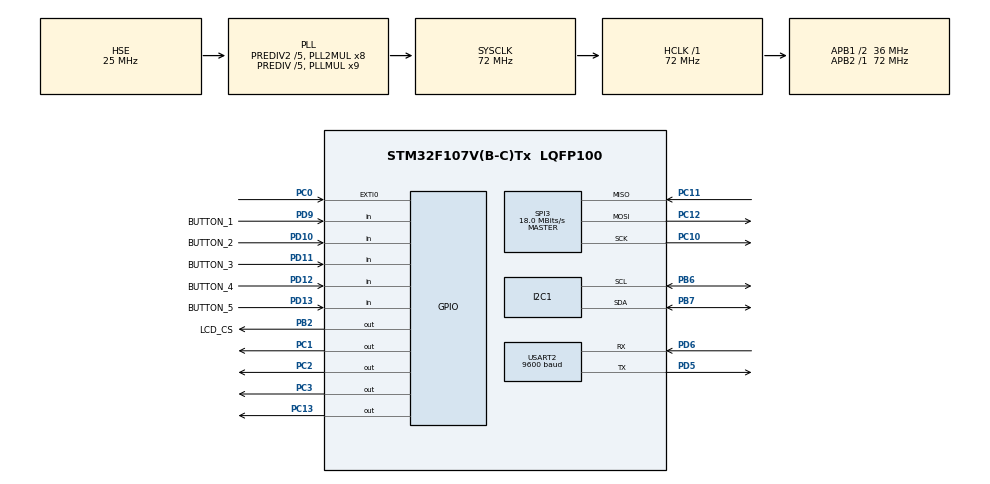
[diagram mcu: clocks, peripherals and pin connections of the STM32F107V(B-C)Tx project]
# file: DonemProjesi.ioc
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I2C1.I2C_Mode=I2C_Standard
Mcu.Family=STM32F1
Mcu.Name=STM32F107V(B-C)Tx
Mcu.Package=LQFP100
NVIC.PriorityGroup=NVIC_PRIORITYGROUP_4
NVIC.USART2_IRQn=true\:0\:0\:false\:false\:true\:true\:true\:true
OSC_IN.Mode=HSE-External-Oscillator
OSC_IN.Signal=RCC_OSC_IN
OSC_OUT.Mode=HSE-External-Oscillator
OSC_OUT.Signal=RCC_OSC_OUT
PA13.Mode=Trace_Synchro_4bits_JTAG
PA13.Signal=SYS_JTMS-SWDIO
PA14.Mode=Trace_Synchro_4bits_JTAG
PA14.Signal=SYS_JTCK-SWCLK
PA15.Mode=Trace_Synchro_4bits_JTAG
PA15.Signal=SYS_JTDI
PB2.GPIO_Label=LCD_CS
PB2.Signal=GPIO_Output
PB3.Mode=Trace_Synchro_4bits_JTAG
PB3.Signal=SYS_JTDO
PB6.Mode=I2C
PB6.Signal=I2C1_SCL
PB7.Mode=I2C
PB7.Signal=I2C1_SDA
PC0.Signal=GPXTI0
PC1.Signal=GPIO_Output
PC10.Mode=Full_Duplex_Master
PC10.Signal=SPI3_SCK
PC11.Mode=Full_Duplex_Master
PC11.Signal=SPI3_MISO
PC12.Mode=Full_Duplex_Master
PC12.Signal=SPI3_MOSI
PC13-TAMPER-RTC.Signal=GPIO_Output
PC2.Signal=GPIO_Output
PC3.Signal=GPIO_Output
PD10.GPIO_Label=BUTTON_2
PD10.Signal=GPIO_Input
PD11.GPIO_Label=BUTTON_3
PD11.Signal=GPIO_Input
PD12.GPIO_Label=BUTTON_4
PD12.Signal=GPIO_Input
PD13.GPIO_Label=BUTTON_5
PD13.Signal=GPIO_Input
PD5.Mode=Asynchronous
PD5.Signal=USART2_TX
PD6.Mode=Asynchronous
PD6.Signal=USART2_RX
PD9.GPIO_Label=BUTTON_1
PD9.Signal=GPIO_Input
PE2.Mode=Trace_Synchro_4bits_JTAG
PE2.Signal=SYS_TRACECLK
PE3.Mode=Trace_Synchro_4bits_JTAG
PE3.Signal=SYS_TRACED0
PE4.Mode=Trace_Synchro_4bits_JTAG
PE4.Signal=SYS_TRACED1
PE5.Mode=Trace_Synchro_4bits_JTAG
PE5.Signal=SYS_TRACED2
PE6.Mode=Trace_Synchro_4bits_JTAG
PE6.Signal=SYS_TRACED3
ProjectManager.HeapSize=0x200
ProjectManager.StackSize=0x400
ProjectManager.TargetToolchain=STM32CubeIDE
RCC.AHBFreq_Value=72000000
RCC.APB1CLKDivider=RCC_HCLK_DIV2
RCC.APB1Freq_Value=36000000
RCC.APB1TimFreq_Value=72000000
RCC.APB2Freq_Value=72000000
RCC.APB2TimFreq_Value=72000000
RCC.HCLKFreq_Value=72000000
RCC.HSEDivPLL=RCC_HSE_PREDIV_DIV5
RCC.HSE_VALUE=25000000
RCC.PLLMUL=RCC_PLL_MUL9
RCC.PLLSourceVirtual=RCC_PLLSOURCE_HSE
RCC.Prediv1Source=RCC_PREDIV1_SOURCE_PLL2
RCC.Prediv2=RCC_HSE_PREDIV2_DIV5
RCC.SYSCLKFreq_VALUE=72000000
RCC.SYSCLKSource=RCC_SYSCLKSOURCE_PLLCLK
RCC.USBFreq_Value=48000000
SPI3.BaudRatePrescaler=SPI_BAUDRATEPRESCALER_2
SPI3.CalculateBaudRate=18.0 MBits/s
SPI3.Direction=SPI_DIRECTION_2LINES
SPI3.Mode=SPI_MODE_MASTER
SPI3.VirtualType=VM_MASTER
USART2.BaudRate=9600
USART2.VirtualMode=VM_ASYNC
board=custom

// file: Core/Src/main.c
/* USER CODE BEGIN Header */

/* Gömülü Sistemler Proje Ödevi
 *
 *  Ekrem Tarık Yetgin 	  - 05190000434
 *	Muhammed Ahmet Kartop - 05180000506
 *  Labirent Tank Oyunu Projesi
*/

/**
 ******************************************************************************
 * @file           : main.c
 * @brief          : Main program body
 ******************************************************************************
 * @attention
 *
 * <h2><center>&copy; Copyright (c) 2021 STMicroelectronics.
 * All rights reserved.</center></h2>
 *
 * This software component is licensed by ST under BSD 3-Clause license,
 * the "License"; You may not use this file except in compliance with the
 * License. You may obtain a copy of the License at:
 *                        opensource.org/licenses/BSD-3-Clause
 *
 ******************************************************************************
 */
/* USER CODE END Header */
#include "main.h"

/* USER CODE BEGIN Includes */
#include "math.h"
#include "time.h"
#include "stdlib.h"
#include "string.h"
/* USER CODE END Includes */

/* USER CODE BEGIN PTD */

#define TANK_RADIUS 10							// Tankların Yarıçapı
#define MAX_BULLET_COUNT 5						// Her tankın haritada bulundurabileceği maksimum mermi sayısı
#define MAX_BULLET_LIFETIME 55					// Mermilerin haritada kalma süresi (birimi yok, oyunun ilerleme hızına bağlı)
#define BULLET_RADIUS 1							// Mermi yarıçapı
#define LCD_X_SIZE 320							// Ekran yatay uzunluk
#define LCD_Y_SIZE 240							// Ekran dikey uzunluk
#define MAP_BLOCKS 5							// Haritanın boyutu, daha büyük değer daha dar yollar demek. 240'ı tam bölen değerler verilmeli
#define WALL_COLOR LCD_COLOR_BLACK				// Duvar rengi
#define BULLET_COLOR LCD_COLOR_DARKRED			// Mermi rengi
#define TURNS_TO_WIN 9							// Oyunu kazanmak için gereken puan

typedef enum bool{
	false,true
}bool;

typedef struct bullet{
	int xPos;
	int yPos;
	short xVelocity;
	short yVelocity;
	uint8_t lifeTime;
}bullet;

typedef struct Tank{
	uint8_t ID;
	char name[11];
	uint16_t xPos;
	uint16_t yPos;

	uint8_t radius;

	short xPosBarrel;					// Namlu'nun uç pozisyonunun x bileşeni.
	short yPosBarrel;					// Namlu'nun uç pozisyonunun y bileşeni

	bool turnClockwise;
	bool turnCounterClockwise;
	bool goForward;
	bool goBack;
	bool fire;

	uint32_t color;

	GPIO_TypeDef* gpioPort;
	uint16_t pins[6];

	bullet bullets[MAX_BULLET_COUNT];

	uint8_t score;
}Tank;

char playerName[11];
char uartInputData;
char startMessage[100];
bool playerOneNameSet = false;
bool playerTwoNameSet = false;

int map[MAP_BLOCKS][MAP_BLOCKS];

/* USER CODE END PTD */

I2C_HandleTypeDef hi2c1;

SPI_HandleTypeDef hspi3;

UART_HandleTypeDef huart2;

void SystemClock_Config(void);
static void MX_GPIO_Init(void);
static void MX_I2C1_Init(void);
static void MX_SPI3_Init(void);
static void MX_USART2_UART_Init(void);
/* USER CODE BEGIN PFP */

static void Baslangic_Ayarlari(void);

void ButtonInput(Tank *tank);														// Ayarlanmış butonlardan giriş alır
void DrawTank(Tank *tank);															// Tankı mevcut pozisyona çizdirir
void EraseTank(Tank *tank);															// Tankın mevcut pozisyonuna arka plan rengini bastırır
void ActionTank(Tank *tank,Tank *tankSecodary,int map[MAP_BLOCKS][MAP_BLOCKS]);		// Basılan butonlara göre tankın hareketlerini gerçekleştirir

void MoveBullets(Tank *tank,Tank *tankSecondary);									// Mermi hareketini sağlar
void EraseBullets(Tank *tank);														// Mermilerin konumuna arka plan rengini bastırır
void DrawBullets(Tank *tank);														// Mermileri mevcut pozisyonda çizdirir
void CheckForHit(Tank *tank1,Tank *tank2);											// Mermilerin tanka çarpıp çarpmadığını kontrol eder

void GenerateMaze(int map[MAP_BLOCKS][MAP_BLOCKS]);									// Haritayı oluşturur
int NeighbourCount(int neighbours[4]);												// Haritanın mezcut konumundan gidilebilecek komşu blok sayısını döndürür
void GetNeighbours(int map[MAP_BLOCKS][MAP_BLOCKS], int negihbours[4], int mapxIndex, int mapyIndex);
// Haritanın mezcut konumundan gidilebilecek komşu blokları belirler

void DrawMap(int map[MAP_BLOCKS][MAP_BLOCKS]);										// Haritayı çizdirir

bool IsWallRight(int x, int y,int map[MAP_BLOCKS][MAP_BLOCKS]);						// Mevcut bloğun sağ tarafında duvar olmalı mı
bool IsWallLeft(int x, int y,int map[MAP_BLOCKS][MAP_BLOCKS]);						// Mevcut bloğun sol tarafında duvar olmalı mı
bool IsWallBottom(int x, int y,int map[MAP_BLOCKS][MAP_BLOCKS]);					// Mevcut bloğun alt tarafında duvar olmalı mı
bool IsWallUp(int x, int y,int map[MAP_BLOCKS][MAP_BLOCKS]);						// Mevcut bloğun üst tarafında duvar olmalı mı

void StartGame(Tank *tank1, Tank *tank2, int map[MAP_BLOCKS][MAP_BLOCKS]);			// Oyunun başlangıç ayarlarını yapar

void PrintScoreBoard(Tank *tank1, Tank *tank2);										// Puan durumunu ekrana yazar

/* USER CODE END PFP */

int main(void)
{
  /* USER CODE BEGIN 1 */
	srand(time(NULL));
  /* USER CODE END 1 */

  /* MCU Configuration--------------------------------------------------------*/

  /* Reset of all peripherals, Initializes the Flash interface and the Systick. */
  HAL_Init();

  /* Configure the system clock */
  SystemClock_Config();

  /* Initialize all configured peripherals */
  MX_GPIO_Init();
  MX_I2C1_Init();
  MX_SPI3_Init();
  MX_USART2_UART_Init();
  /* USER CODE BEGIN 2 */

	Baslangic_Ayarlari();
	//GenerateMaze();
	//Ekran_Mesaji();

	Tank tank1;
	Tank tank2;

	tank1.score = 0;
	tank2.score = 0;

	HAL_UART_Receive_IT(&huart2,(uint8_t*)&uartInputData , 1);

	// UART üzerinden oyuncuların adlarını alıp tank.name değişkenine kaydediyoruz

	BSP_LCD_SetFont(&Font16);

	strcpy(startMessage,"Please Enter The Name of the Player One Maximum of 10 characters\nPut a '.' at the end.\n\n");
	BSP_LCD_DisplayStringAtLine(1, (uint8_t*)"Please Enter The Name ");
	BSP_LCD_DisplayStringAtLine(2, (uint8_t*)"of the Player One");
	BSP_LCD_DisplayStringAtLine(3, (uint8_t*)"Maximum of 10 characters");
	BSP_LCD_DisplayStringAtLine(4, (uint8_t*)"Put a '.' at the end.");
	HAL_UART_Transmit(&huart2,(uint8_t*) startMessage, strlen(startMessage), 3000);
	while(!playerOneNameSet);
	strcpy(tank1.name,playerName);

	strcpy(playerName,"");
	BSP_LCD_ClearStringLine(1);
	BSP_LCD_ClearStringLine(2);
	BSP_LCD_ClearStringLine(3);
	BSP_LCD_ClearStringLine(4);

	strcpy(startMessage, "Please Enter The Name of the Player Two Maximum of 10 characters\nPut a '.' at the end.\n\n");
	BSP_LCD_DisplayStringAtLine(1, (uint8_t*)"Please Enter The Name ");
	BSP_LCD_DisplayStringAtLine(2, (uint8_t*)"of the Player Two");
	BSP_LCD_DisplayStringAtLine(3, (uint8_t*)"Maximum of 10 characters");
	BSP_LCD_DisplayStringAtLine(4, (uint8_t*)"Put a '.' at the end.");
	HAL_UART_Transmit(&huart2,(uint8_t*) startMessage, strlen(startMessage), 3000);
	while(!playerTwoNameSet);
	strcpy(tank2.name,playerName);

	StartGame(&tank1,&tank2,map);

  /* USER CODE END 2 */

  /* Infinite loop */
  /* USER CODE BEGIN WHILE */
	while (1) {

				EraseTank(&tank1);
				EraseTank(&tank2);
				HAL_Delay(10);
				ButtonInput(&tank1);
				ButtonInput(&tank2);
				ActionTank(&tank1,&tank2,map);
				ActionTank(&tank2,&tank1,map);
				DrawTank(&tank1);
				DrawTank(&tank2);
				HAL_Delay(40);

    /* USER CODE END WHILE */

	}
}

void SystemClock_Config(void)
{
  RCC_OscInitTypeDef RCC_OscInitStruct = {0};
  RCC_ClkInitTypeDef RCC_ClkInitStruct = {0};

  /** Initializes the RCC Oscillators according to the specified parameters
  * in the RCC_OscInitTypeDef structure.
  */
  RCC_OscInitStruct.OscillatorType = RCC_OSCILLATORTYPE_HSE;
  RCC_OscInitStruct.HSEState = RCC_HSE_ON;
  RCC_OscInitStruct.HSEPredivValue = RCC_HSE_PREDIV_DIV5;
  RCC_OscInitStruct.HSIState = RCC_HSI_ON;
  RCC_OscInitStruct.Prediv1Source = RCC_PREDIV1_SOURCE_PLL2;
  RCC_OscInitStruct.PLL.PLLState = RCC_PLL_ON;
  RCC_OscInitStruct.PLL.PLLSource = RCC_PLLSOURCE_HSE;
  RCC_OscInitStruct.PLL.PLLMUL = RCC_PLL_MUL9;
  RCC_OscInitStruct.PLL2.PLL2State = RCC_PLL2_ON;
  RCC_OscInitStruct.PLL2.PLL2MUL = RCC_PLL2_MUL8;
  RCC_OscInitStruct.PLL2.HSEPrediv2Value = RCC_HSE_PREDIV2_DIV5;
  if (HAL_RCC_OscConfig(&RCC_OscInitStruct) != HAL_OK)
  {
    Error_Handler();
  }
  /** Initializes the CPU, AHB and APB buses clocks
  */
  RCC_ClkInitStruct.ClockType = RCC_CLOCKTYPE_HCLK|RCC_CLOCKTYPE_SYSCLK
                              |RCC_CLOCKTYPE_PCLK1|RCC_CLOCKTYPE_PCLK2;
  RCC_ClkInitStruct.SYSCLKSource = RCC_SYSCLKSOURCE_PLLCLK;
  RCC_ClkInitStruct.AHBCLKDivider = RCC_SYSCLK_DIV1;
  RCC_ClkInitStruct.APB1CLKDivider = RCC_HCLK_DIV2;
  RCC_ClkInitStruct.APB2CLKDivider = RCC_HCLK_DIV1;

  if (HAL_RCC_ClockConfig(&RCC_ClkInitStruct, FLASH_LATENCY_2) != HAL_OK)
  {
    Error_Handler();
  }
  /** Configure the Systick interrupt time
  */
  __HAL_RCC_PLLI2S_ENABLE();
}

static void MX_I2C1_Init(void)
{

  hi2c1.Instance = I2C1;
  hi2c1.Init.ClockSpeed = 100000;
  hi2c1.Init.DutyCycle = I2C_DUTYCYCLE_2;
  hi2c1.Init.OwnAddress1 = 0;
  hi2c1.Init.AddressingMode = I2C_ADDRESSINGMODE_7BIT;
  hi2c1.Init.DualAddressMode = I2C_DUALADDRESS_DISABLE;
  hi2c1.Init.OwnAddress2 = 0;
  hi2c1.Init.GeneralCallMode = I2C_GENERALCALL_DISABLE;
  hi2c1.Init.NoStretchMode = I2C_NOSTRETCH_DISABLE;
  if (HAL_I2C_Init(&hi2c1) != HAL_OK)
  {
    Error_Handler();
  }

}

static void MX_SPI3_Init(void)
{

  /* SPI3 parameter configuration*/
  hspi3.Instance = SPI3;
  hspi3.Init.Mode = SPI_MODE_MASTER;
  hspi3.Init.Direction = SPI_DIRECTION_2LINES;
  hspi3.Init.DataSize = SPI_DATASIZE_8BIT;
  hspi3.Init.CLKPolarity = SPI_POLARITY_LOW;
  hspi3.Init.CLKPhase = SPI_PHASE_1EDGE;
  hspi3.Init.NSS = SPI_NSS_SOFT;
  hspi3.Init.BaudRatePrescaler = SPI_BAUDRATEPRESCALER_2;
  hspi3.Init.FirstBit = SPI_FIRSTBIT_MSB;
  hspi3.Init.TIMode = SPI_TIMODE_DISABLE;
  hspi3.Init.CRCCalculation = SPI_CRCCALCULATION_DISABLE;
  hspi3.Init.CRCPolynomial = 10;
  if (HAL_SPI_Init(&hspi3) != HAL_OK)
  {
    Error_Handler();
  }

}

static void MX_USART2_UART_Init(void)
{

  huart2.Instance = USART2;
  huart2.Init.BaudRate = 9600;
  huart2.Init.WordLength = UART_WORDLENGTH_8B;
  huart2.Init.StopBits = UART_STOPBITS_1;
  huart2.Init.Parity = UART_PARITY_NONE;
  huart2.Init.Mode = UART_MODE_TX_RX;
  huart2.Init.HwFlowCtl = UART_HWCONTROL_NONE;
  huart2.Init.OverSampling = UART_OVERSAMPLING_16;
  if (HAL_UART_Init(&huart2) != HAL_OK)
  {
    Error_Handler();
  }

}

static void MX_GPIO_Init(void)
{
  GPIO_InitTypeDef GPIO_InitStruct = {0};

  /* GPIO Ports Clock Enable */
  __HAL_RCC_GPIOE_CLK_ENABLE();
  __HAL_RCC_GPIOC_CLK_ENABLE();
  __HAL_RCC_GPIOB_CLK_ENABLE();
  __HAL_RCC_GPIOD_CLK_ENABLE();
  __HAL_RCC_GPIOA_CLK_ENABLE();

  /*Configure GPIO pin Output Level */
  HAL_GPIO_WritePin(GPIOC, GPIO_PIN_13|GPIO_PIN_1|GPIO_PIN_2|GPIO_PIN_3, GPIO_PIN_RESET);

  /*Configure GPIO pin Output Level */
  HAL_GPIO_WritePin(LCD_CS_GPIO_Port, LCD_CS_Pin, GPIO_PIN_RESET);

  /*Configure GPIO pins : PC13 PC1 PC2 PC3 */
  GPIO_InitStruct.Pin = GPIO_PIN_13|GPIO_PIN_1|GPIO_PIN_2|GPIO_PIN_3;
  GPIO_InitStruct.Mode = GPIO_MODE_OUTPUT_PP;
  GPIO_InitStruct.Pull = GPIO_NOPULL;
  GPIO_InitStruct.Speed = GPIO_SPEED_FREQ_LOW;
  HAL_GPIO_Init(GPIOC, &GPIO_InitStruct);

  /*Configure GPIO pin : PC0 */
  GPIO_InitStruct.Pin = GPIO_PIN_0;
  GPIO_InitStruct.Mode = GPIO_MODE_IT_RISING;
  GPIO_InitStruct.Pull = GPIO_NOPULL;
  HAL_GPIO_Init(GPIOC, &GPIO_InitStruct);

  /*Configure GPIO pin : LCD_CS_Pin */
  GPIO_InitStruct.Pin = LCD_CS_Pin;
  GPIO_InitStruct.Mode = GPIO_MODE_OUTPUT_PP;
  GPIO_InitStruct.Pull = GPIO_NOPULL;
  GPIO_InitStruct.Speed = GPIO_SPEED_FREQ_LOW;
  HAL_GPIO_Init(LCD_CS_GPIO_Port, &GPIO_InitStruct);

  /*Configure GPIO pins : BUTTON_1_Pin BUTTON_2_Pin BUTTON_3_Pin BUTTON_4_Pin
                           BUTTON_5_Pin */
  GPIO_InitStruct.Pin = BUTTON_1_Pin|BUTTON_2_Pin|BUTTON_3_Pin|BUTTON_4_Pin
                          |BUTTON_5_Pin;
  GPIO_InitStruct.Mode = GPIO_MODE_INPUT;
  GPIO_InitStruct.Pull = GPIO_NOPULL;
  HAL_GPIO_Init(GPIOD, &GPIO_InitStruct);

}

/* USER CODE BEGIN 4 */
static void Baslangic_Ayarlari(void) {
	BSP_LED_Init(LED1);
	BSP_LED_Init(LED2);
	BSP_LED_Init(LED3);
	BSP_LED_Init(LED4);

	BSP_LCD_Init();

	BSP_LCD_Clear(LCD_COLOR_WHITE);
	BSP_LCD_SetFont(&Font20);
}

// Oyun kolunda basılan butonlara göre tankın hareket değişkenleri true ya da false değeri alır.
void ButtonInput(Tank *tank)
{
	tank->goBack 				= HAL_GPIO_ReadPin(tank->gpioPort, tank->pins[0]);
	tank->goForward 			= HAL_GPIO_ReadPin(tank->gpioPort, tank->pins[1]);
	tank->turnClockwise 		= HAL_GPIO_ReadPin(tank->gpioPort, tank->pins[2]);
	tank->turnCounterClockwise	= HAL_GPIO_ReadPin(tank->gpioPort, tank->pins[3]);
	tank->fire					= HAL_GPIO_ReadPin(tank->gpioPort, tank->pins[4]);
}

// Tank ve tank namlusu bu fonksiyonla çizilir.
void DrawTank(Tank *tank)
{
	DrawBullets(tank);
	BSP_LCD_SetTextColor(tank->color);
	BSP_LCD_FillCircle(tank->xPos, tank->yPos, tank->radius);

	BSP_LCD_SetTextColor(LCD_COLOR_GREEN);
	BSP_LCD_DrawLine(tank->xPos, tank->yPos, tank->xPos + tank->xPosBarrel, tank->yPos + tank->yPosBarrel);
}

// Tankın yerine arka plan rengini çizdirerek tankı silmiş oluyoruz.
void EraseTank(Tank *tank)
{
	EraseBullets(tank);
	BSP_LCD_SetTextColor(LCD_COLOR_WHITE);
	BSP_LCD_FillCircle(tank->xPos, tank->yPos, tank->radius);
}

// ButtonInput() fonksiyonunda ayarlanan değişkenlerin değerleri kontrol edilerek
// bu fonksiyonda tankın hareketleri sağlanır.
void ActionTank(Tank *tankMain,Tank *tankSecondary,int map[MAP_BLOCKS][MAP_BLOCKS])
{
	// Önce mermileri hareket ettiriyoruz.
	MoveBullets(tankMain,tankSecondary);

	// Tank saat yönünde dönecekse
	if(tankMain->turnClockwise)
	{
		// Tankın namlusu üst yarı düzlemdeyse namlunun x değişkeni artar.
		if(tankMain->yPosBarrel > 0)
		{
			tankMain->xPosBarrel += tankMain->radius / 5;
			tankMain->yPosBarrel = (int)sqrt(tankMain->radius*tankMain->radius - tankMain->xPosBarrel*tankMain->xPosBarrel);
		}

		// Tankın namlusu üst yarı düzlemdeyse namlunun x değişkeni azalır.
		else if(tankMain->yPosBarrel < 0)
		{
			tankMain->xPosBarrel -= tankMain->radius / 5;
			tankMain->yPosBarrel = -(int)sqrt(tankMain->radius*tankMain->radius - tankMain->xPosBarrel* tankMain->xPosBarrel);
		}

		// Tankın namlusu tamamen sağ tarafa bakıyorsa namlunun x değişkeni azalır.
		else if(tankMain->yPosBarrel == 0 && tankMain->xPosBarrel == tankMain->radius)
		{
			tankMain->xPosBarrel -= tankMain->radius / 5;
			tankMain->yPosBarrel = -(int)sqrt(tankMain->radius*tankMain->radius - tankMain->xPosBarrel* tankMain->xPosBarrel);
		}

		// Tankın namlusu tamamen sol tarafa bakıyorsa namlunun x değişkeni artar.
		else if(tankMain->yPosBarrel == 0 && tankMain->xPosBarrel == -tankMain->radius)
		{
			tankMain->xPosBarrel += tankMain->radius / 5;
			tankMain->yPosBarrel = (int)sqrt(tankMain->radius*tankMain->radius - tankMain->xPosBarrel* tankMain->xPosBarrel);
		}
	}

	// Tank saat yönünün tersine dönecekse
	if(tankMain->turnCounterClockwise)
	{
		if(tankMain->yPosBarrel > 0)
		{
			tankMain->xPosBarrel -= tankMain->radius / 5;
			tankMain->yPosBarrel = (int)sqrt(tankMain->radius*tankMain->radius - tankMain->xPosBarrel*tankMain->xPosBarrel);
		}
		else if(tankMain->yPosBarrel < 0)
		{
			tankMain->xPosBarrel += tankMain->radius / 5;
			tankMain->yPosBarrel = -(int)sqrt(tankMain->radius*tankMain->radius - tankMain->xPosBarrel* tankMain->xPosBarrel);
		}
		else if(tankMain->yPosBarrel == 0 && tankMain->xPosBarrel == tankMain->radius)
		{
			tankMain->xPosBarrel -= tankMain->radius / 5;
			tankMain->yPosBarrel = +(int)sqrt(tankMain->radius*tankMain->radius - tankMain->xPosBarrel* tankMain->xPosBarrel);
		}
		else if(tankMain->yPosBarrel == 0 && tankMain->xPosBarrel == -tankMain->radius)
		{
			tankMain->xPosBarrel += tankMain->radius / 5;
			tankMain->yPosBarrel = -(int)sqrt(tankMain->radius*tankMain->radius - tankMain->xPosBarrel* tankMain->xPosBarrel);
		}
	}

	// tank ileri gidecekse
	if(tankMain->goForward)
	{
		// map[][] dizisindeki değişkenleri ekrana uyarlamak için gereken genişletme oranı.
		int block_size = LCD_Y_SIZE / MAP_BLOCKS;

		// Tankımızın ilerleme oranı namlu uzunluğunun yarısı kadardır.
		int xVel = tankMain->xPosBarrel / 2;

		// Tank sağ tarafa hareket ediyorsa
		if(xVel > 0)
		{
			// Hareket olduğu sürece
			while(xVel)
			{
				// Bloğun kenarında değilsek veya sağımızda duvar yoksa
				if((((((tankMain->yPos + tankMain->radius)/block_size) == (tankMain->yPos - tankMain->radius)/block_size))  && !IsWallRight(tankMain->yPos/block_size, tankMain->xPos / block_size , map)) || tankMain->xPos % block_size +2 < block_size - tankMain->radius  )
				{
					tankMain->xPos++;
					xVel--;
				}
				else
				{
					xVel = 0;
				}
			}
		}

		// Tank sol tarafa hareket ediyorsa
		else if(xVel < 0)
		{
			xVel = -xVel;
			while(xVel)
			{
				// Bloğun kenarında değilsek veya solumuzda duvar yoksa
				if((((((tankMain->yPos + tankMain->radius)/block_size) == (tankMain->yPos - tankMain->radius)/block_size))  && !IsWallLeft(tankMain->yPos/block_size, tankMain->xPos / block_size , map)) || tankMain->xPos % block_size -2 > tankMain->radius  )
				{
					tankMain->xPos--;
					xVel--;
				}
				else
				{
					xVel = 0;
				}
			}
		}

		int yVel = tankMain->yPosBarrel / 2;

		// Tank aşağı hareket ediyorsa
		if(yVel > 0)
		{
			while(yVel)
			{
				// Bloğun kenarında değilsek veya altımızda duvar yoksa
				if((((((tankMain->xPos + tankMain->radius)/block_size) == (tankMain->xPos - tankMain->radius)/block_size))  && !IsWallBottom(tankMain->yPos/block_size, tankMain->xPos / block_size , map)) || tankMain->yPos % block_size +3 < block_size - tankMain->radius  )
				{
					tankMain->yPos++;
					yVel--;
				}
				else
				{
					yVel = 0;
				}
			}
		}
		// Tank yukarı hareket ediyorsa
		else if(yVel < 0)
		{
			yVel = -yVel;
			while(yVel)
			{
				// Bloğun kenarında değilsek veya üstümüzde duvar yoksa
				if((((((tankMain->xPos + tankMain->radius)/block_size) == (tankMain->xPos - tankMain->radius)/block_size))  && !IsWallUp(tankMain->yPos/block_size, tankMain->xPos / block_size , map)) || tankMain->yPos % block_size -2 > tankMain->radius  )
				{
					tankMain->yPos--;
					yVel--;
				}
				else
				{
					yVel = 0;
				}
			}
		}
	}

	if(tankMain->goBack)
	{
		int block_size = LCD_Y_SIZE / MAP_BLOCKS;

		int xVel = -tankMain->xPosBarrel / 2;
		if(xVel > 0)
		{
			while(xVel)
			{
				if((((((tankMain->yPos + tankMain->radius)/block_size) == (tankMain->yPos - tankMain->radius)/block_size))  && !IsWallRight(tankMain->yPos/block_size, tankMain->xPos / block_size , map)) || tankMain->xPos % block_size +2 < block_size - tankMain->radius  )
				{
					tankMain->xPos++;
					xVel--;
				}
				else
				{
					xVel = 0;
				}
			}

		}
		else if(xVel < 0)
		{
			xVel = -xVel;
			while(xVel)
			{
				if((((((tankMain->yPos + tankMain->radius)/block_size) == (tankMain->yPos - tankMain->radius)/block_size))  && !IsWallLeft(tankMain->yPos/block_size, tankMain->xPos / block_size , map)) || tankMain->xPos % block_size -2 > tankMain->radius  )
				{
					tankMain->xPos--;
					xVel--;
				}
				else
				{
					xVel = 0;
				}
			}
		}

		int yVel = -tankMain->yPosBarrel / 2;
		if(yVel > 0)
		{
			while(yVel)
			{
				if((((((tankMain->xPos + tankMain->radius)/block_size) == (tankMain->xPos - tankMain->radius)/block_size))  && !IsWallBottom(tankMain->yPos/block_size, tankMain->xPos / block_size , map)) || tankMain->yPos % block_size +3 < block_size - tankMain->radius  )
				{
					tankMain->yPos++;
					yVel--;
				}
				else
				{
					yVel = 0;
				}
			}

		}
		else if(yVel < 0)
		{
			yVel = -yVel;
			while(yVel)
			{
				if((((((tankMain->xPos + tankMain->radius)/block_size) == (tankMain->xPos - tankMain->radius)/block_size))  && !IsWallUp(tankMain->yPos/block_size, tankMain->xPos / block_size , map)) || tankMain->yPos % block_size -2 > tankMain->radius  )
				{
					tankMain->yPos--;
					yVel--;
				}
				else
				{
					yVel = 0;
				}
			}
		}
}

	// tank.bullets.lifetime değeri 0'a eşit ise o mermi ateşlenmemiştir demektir.
	// Bu durumda bir mermi ateşlenir.
	// Merminin hareket hızı namlu uzunluğu ile aynıdır.
	// Tankların hızı namlu uzunluğunun yarısı kadar olduğu için mermiler tankların iki katı hızda hareket eder.
	if(tankMain->fire)
	{
		int i;
		for(i=0; i< MAX_BULLET_COUNT; i++)
		{
			if(tankMain->bullets[i].lifeTime == 0)
			{
				tankMain->bullets[i].lifeTime = MAX_BULLET_LIFETIME;
				tankMain->bullets[i].xPos = tankMain->xPos + tankMain->xPosBarrel;
				tankMain->bullets[i].yPos = tankMain->yPos + tankMain->yPosBarrel;
				tankMain->bullets[i].xVelocity = tankMain->xPosBarrel;
				tankMain->bullets[i].yVelocity = tankMain->yPosBarrel;
				break;
			}
		}
	}
}

// Mermilerin hareketi tankların hareketlerine benzer.
// En büyük fark mermiler tankların aksine duvara çarpınca durak yerine ters yönde hareketine devam eder.
// Böylece duvardan sekmiş olur.
void MoveBullets(Tank *tankMain, Tank *tankSecondary)
{
	int block_size = LCD_Y_SIZE / MAP_BLOCKS;
	int i;
	for(i=0; i< MAX_BULLET_COUNT; i++)
	{
		if(tankMain->bullets[i].lifeTime > 0)
		{
			int xvelocity = tankMain->bullets[i].xVelocity;
			if(xvelocity < 0)
			{
				xvelocity = -xvelocity;
			}
			while(xvelocity)
			{
				if(tankMain->bullets[i].xVelocity > 0)
				{
					if( !IsWallRight(tankMain->bullets[i].yPos / block_size, tankMain->bullets[i].xPos / block_size, map) || tankMain->bullets[i].xPos % block_size < block_size - 3)
					{
						tankMain->bullets[i].xPos++;
						if(tankMain->bullets[i].xPos % block_size == 0)
						{
							tankMain->bullets[i].xPos += 2;
						}
					}
					else
					{
						tankMain->bullets[i].xVelocity = -tankMain->bullets[i].xVelocity;
					}
				}
				else
				{
					if(!IsWallLeft(tankMain->bullets[i].yPos / block_size, tankMain->bullets[i].xPos / block_size, map) || tankMain->bullets[i].xPos % block_size > 3)
					{
						tankMain->bullets[i].xPos--;
						if(tankMain->bullets[i].xPos % block_size == 0)
						{
							tankMain->bullets[i].xPos -= 2;
						}
					}
					else
					{
						tankMain->bullets[i].xVelocity = -tankMain->bullets[i].xVelocity;
					}
				}
				xvelocity--;
			}

			int yvelocity = tankMain->bullets[i].yVelocity;
			if(yvelocity < 0)
			{
				yvelocity = -yvelocity;
			}
			while(yvelocity)
			{
				if(tankMain->bullets[i].yVelocity > 0)
				{
					if( !IsWallBottom(tankMain->bullets[i].yPos / block_size, tankMain->bullets[i].xPos / block_size, map) || tankMain->bullets[i].yPos % block_size < block_size - 3)
					{
						tankMain->bullets[i].yPos++;
					}
					else
					{
						tankMain->bullets[i].yVelocity = -tankMain->bullets[i].yVelocity;
					}
				}
				else
				{
					if( !IsWallUp(tankMain->bullets[i].yPos / block_size, tankMain->bullets[i].xPos / block_size, map) || tankMain->bullets[i].yPos % block_size > 3)
					{
						tankMain->bullets[i].yPos--;
					}
					else
					{
						tankMain->bullets[i].yVelocity = -tankMain->bullets[i].yVelocity;
					}
				}
				yvelocity--;
			}

			// Bu if-else bloğu mermilerin 2 blok sınırında ateşlenmesiyle ortaya çıkan bir hatayı düzeltmek için yazılmıştır.
			if(tankMain->bullets[i].xPos % block_size < 3)
			{
				tankMain->bullets[i].xPos += 2;
			}
			else if(tankMain->bullets[i].xPos % block_size > block_size - 3)
			{
				tankMain->bullets[i].xPos-= 2;
			}
			if(tankMain->bullets[i].yPos % block_size < 3)
			{
				tankMain->bullets[i].yPos += 2;
			}
			else if(tankMain->bullets[i].yPos % block_size > block_size - 3)
			{
				tankMain->bullets[i].yPos-= 2;
			}

			// Mermilerin her hareketinde ömürleri kısalır.
			tankMain->bullets[i].lifeTime--;
		}
	}
	// Mermilerin hareketi tamamlandığında tanklarla temas edip etmediği kontrol edilir.
	CheckForHit(tankMain,tankSecondary);
}

void CheckForHit(Tank *tank1,Tank *tank2)
{
	bool tank1Dead = false;
	bool tank2Dead = false;
	int i = 0;
	for(i = 0; i<MAX_BULLET_COUNT; i++)
	{
		if(tank1->bullets[i].lifeTime > 0)
		{
			int xDist1 = tank1->xPos - tank1->bullets[i].xPos;
			int yDist1 = tank1->yPos - tank1->bullets[i].yPos;
			if( sqrt( (xDist1)*(xDist1) + (yDist1)*(yDist1)) <= 9)
			{
				tank1Dead = true;
			}

			int xDist2 = tank2->xPos - tank1->bullets[i].xPos;
			int yDist2 = tank2->yPos - tank1->bullets[i].yPos;
			if( sqrt( (xDist2)*(xDist2) + (yDist2)*(yDist2)) <= 9)
			{
				tank2Dead = true;
			}
		}

		if(tank2->bullets[i].lifeTime > 0)
		{
			int xDist1 = tank1->xPos - tank2->bullets[i].xPos;
			int yDist1 = tank1->yPos - tank2->bullets[i].yPos;
			if( sqrt( (xDist1)*(xDist1) + (yDist1)*(yDist1)) <= 9)
			{
				tank1Dead = true;
			}

			int xDist2 = tank2->xPos - tank2->bullets[i].xPos;
			int yDist2 = tank2->yPos - tank2->bullets[i].yPos;
			if( sqrt( (xDist2)*(xDist2) + (yDist2)*(yDist2)) <= 9)
			{
				tank2Dead = true;
			}
		}
	}
	if(tank1Dead)
	{
		tank2->score++;
	}
	if(tank2Dead)
	{
		tank1->score++;
	}
	if(tank1Dead || tank2Dead)
	{
		if(tank1->ID == 1)
		{
			StartGame(tank1, tank2, map);
		}
		else
		{
			StartGame(tank2, tank1, map);
		}
	}
}

void EraseBullets(Tank *tank)
{
	int i;
	BSP_LCD_SetTextColor(LCD_COLOR_WHITE);
	for(i=0; i< MAX_BULLET_COUNT; i++)
	{
		if(tank->bullets[i].lifeTime != 0)
		{
			BSP_LCD_FillCircle(tank->bullets[i].xPos,tank->bullets[i].yPos , BULLET_RADIUS);
		}
	}
}

void DrawBullets(Tank *tank)
{
	int i;
	BSP_LCD_SetTextColor(BULLET_COLOR);
	for(i=0; i< MAX_BULLET_COUNT; i++)
	{
		if(tank->bullets[i].lifeTime != 0)
		{
			BSP_LCD_FillCircle(tank->bullets[i].xPos,tank->bullets[i].yPos , BULLET_RADIUS);
		}
	}
}

// Labirent üretme algoritması raporda görsel olarak anlatılmıştır.
void GenerateMaze(int map[MAP_BLOCKS][MAP_BLOCKS])
{

	int count = 0;
	int currentValue = 1;
	int mapxIndex = 0;
	int mapyIndex = 0;
	int randomValue;

	int neighbours[4] = {0,0,0,0};  // Üst,Sol,Alt,Sağ

	for(int x=0; x<MAP_BLOCKS; x++)
	{
		for(int y=0; y<MAP_BLOCKS; y++)
		{
			map[x][y] = 0;
		}
	}

	while(1)
	{
		map[mapxIndex][mapyIndex] = currentValue;
		currentValue++;
		count++;

		if(count == MAP_BLOCKS*MAP_BLOCKS)
		{
			break;
		}

		GetNeighbours(map, neighbours, mapxIndex, mapyIndex);

		if(!NeighbourCount(neighbours))
		{
			currentValue--;
			while(!NeighbourCount(neighbours))
			{
				if(mapxIndex != 0 && map[mapxIndex-1][mapyIndex] == currentValue-1)
				{
					mapxIndex--;
					currentValue--;
				}
				else if( mapxIndex < MAP_BLOCKS && map[mapxIndex+1][mapyIndex] == currentValue-1)
				{
					mapxIndex++;
					currentValue--;
				}
				else if(mapyIndex != 0 && map[mapxIndex][mapyIndex-1] == currentValue-1)
				{
					mapyIndex--;
					currentValue--;
				}
				else
				{
					mapyIndex++;
					currentValue--;
				}
				GetNeighbours(map, neighbours, mapxIndex, mapyIndex);
			}
			currentValue++;
		}

		if(NeighbourCount(neighbours))
		{
			do{
				randomValue = (rand() + 1) %4;
			}while(neighbours[randomValue] == 0);

			switch (randomValue)
			{
				case 0:
					mapxIndex--;
					break;
				case 1:
					mapyIndex--;
					break;
				case 2:
					mapxIndex++;
					break;
				case 3:
					mapyIndex++;
					break;
				default:
					break;
			}
		}
	}
	DrawMap(map);
}

int NeighbourCount(int neighbours[4])
{
	int count = 0;

	for(int i=0; i<4; i++)
	{
		if(neighbours[i] != 0)
		{
			count++;
		}
	}
	return count;
}

void GetNeighbours(int map[MAP_BLOCKS][MAP_BLOCKS], int neighbours[4], int mapxIndex, int mapyIndex)
{
	// Sol tarafa hareket edilebilir mi
	if(mapyIndex > 0 && map[mapxIndex][mapyIndex-1] == 0)
	{
		neighbours[1] = 1;
	}
	else
	{
		neighbours[1] = 0;
	}
	// Üst tarafa hareket edilebilir mi
	if(mapxIndex > 0 && map[mapxIndex-1][mapyIndex] == 0)
	{
		neighbours[0] = 1;
	}
	else
	{
		neighbours[0] = 0;
	}
	// Sağ tarafa hareket edilebilir mi
	if(mapyIndex < MAP_BLOCKS -1 && map[mapxIndex][mapyIndex+1] == 0)
	{
		neighbours[3] = 1;
	}
	else
	{
		neighbours[3] = 0;
	}
	// Alt tarafa hareket edilebilir mi
	if(mapxIndex < MAP_BLOCKS -1 && map[mapxIndex+1][mapyIndex] == 0)
	{
		neighbours[2] = 1;
	}
	else
	{
		neighbours[2] = 0;
	}
}

void DrawMap(int map[MAP_BLOCKS][MAP_BLOCKS])
{
	BSP_LCD_SetTextColor(WALL_COLOR);
	for(int x=0; x<MAP_BLOCKS; x++)
	{
		for(int y=0; y<MAP_BLOCKS; y++)
		{
			if( IsWallRight(x,y,map) )
			{
				BSP_LCD_DrawVLine( (y+1)* (LCD_Y_SIZE / MAP_BLOCKS) , (x)   * (LCD_Y_SIZE / MAP_BLOCKS) , (LCD_Y_SIZE / MAP_BLOCKS) );
			}
			if( IsWallBottom(x,y,map) )
			{
				BSP_LCD_DrawHLine( (y) * (LCD_Y_SIZE / MAP_BLOCKS) ,  (x+1) * (LCD_Y_SIZE / MAP_BLOCKS), (LCD_Y_SIZE / MAP_BLOCKS));
			}
			if( IsWallLeft(x, y, map))
			{
				BSP_LCD_DrawVLine( (y)* (LCD_Y_SIZE / MAP_BLOCKS) , (x)   * (LCD_Y_SIZE / MAP_BLOCKS) , (LCD_Y_SIZE / MAP_BLOCKS) );
			}
			if( IsWallUp(x, y, map))
			{
				BSP_LCD_DrawHLine( (y) * (LCD_Y_SIZE / MAP_BLOCKS) ,  (x) * (LCD_Y_SIZE / MAP_BLOCKS), (LCD_Y_SIZE / MAP_BLOCKS));
			}
		}
	}
}

bool IsWallRight(int x, int y,int map[MAP_BLOCKS][MAP_BLOCKS])
{
	if((map[x][y] - map[x][y+1] != 1 && map[x][y] - map[x][y+1] != -1) || y == MAP_BLOCKS-1)
	{
		return true;
	}
	return false;
}

bool IsWallBottom(int x, int y,int map[MAP_BLOCKS][MAP_BLOCKS])
{
	if((map[x][y] - map[x+1][y] != 1 && map[x][y] - map[x+1][y] != -1) || x == MAP_BLOCKS - 1)
	{
		return true;
	}
	return false;
}

bool IsWallLeft(int x, int y,int map[MAP_BLOCKS][MAP_BLOCKS])
{
	if((map[x][y] - map[x][y-1] != 1 && map[x][y] - map[x][y-1] != -1) || y == 0)
	{
		return true;
	}
	return false;
}
bool IsWallUp(int x, int y,int map[MAP_BLOCKS][MAP_BLOCKS])
{
	if((map[x][y] - map[x-1][y] != 1 && map[x][y] - map[x-1][y] != -1) || x == 0)
	{
		return true;
	}
	return false;
}

void StartGame(Tank *tank1, Tank *tank2,int map[MAP_BLOCKS][MAP_BLOCKS])
{

	if(tank1->score == TURNS_TO_WIN && tank2->score == TURNS_TO_WIN)
	{
		BSP_LCD_SetFont(&Font16);
		BSP_LCD_SetBackColor(LCD_COLOR_BLACK);
		BSP_LCD_SetTextColor(LCD_COLOR_WHITE);
		BSP_LCD_DisplayStringAt(0, 120,(uint8_t*) "IT IS A DRAW!", CENTER_MODE);
		BSP_LCD_DisplayStringAt(0, 140,(uint8_t*)"PRESS FIRE BUTTON TO REMATCH!", CENTER_MODE);
		tank1->score = 0;
		tank2->score = 0;
		HAL_Delay(500);
		while(!HAL_GPIO_ReadPin(tank1->gpioPort, tank2->pins[4]) && !HAL_GPIO_ReadPin(tank2->gpioPort, tank2->pins[4]));
	}
	else if(tank1->score == TURNS_TO_WIN)
	{
		char endGameMessage[30];
		strcpy(endGameMessage,tank1->name);
		strcat(endGameMessage," WON THE GAME!");
		BSP_LCD_SetFont(&Font16);
		BSP_LCD_SetBackColor(LCD_COLOR_BLACK);
		BSP_LCD_SetTextColor(LCD_COLOR_WHITE);
		BSP_LCD_DisplayStringAt(0, 120,(uint8_t*)endGameMessage, CENTER_MODE);
		BSP_LCD_DisplayStringAt(0, 140,(uint8_t*)"PRESS FIRE BUTTON TO REMATCH!", CENTER_MODE);
		tank1->score = 0;
		tank2->score = 0;
		HAL_Delay(500);
		while(!HAL_GPIO_ReadPin(tank1->gpioPort, tank2->pins[4]) && !HAL_GPIO_ReadPin(tank2->gpioPort, tank2->pins[4]));
	}
	else if(tank2->score == TURNS_TO_WIN)
	{
		char endGameMessage[30];
		strcpy(endGameMessage,tank2->name);
		strcat(endGameMessage," WON THE GAME!");
		BSP_LCD_SetFont(&Font16);
		BSP_LCD_SetBackColor(LCD_COLOR_BLACK);
		BSP_LCD_SetTextColor(LCD_COLOR_WHITE);
		BSP_LCD_DisplayStringAt(0, 120,(uint8_t*)endGameMessage, CENTER_MODE);
		BSP_LCD_DisplayStringAt(0, 140,(uint8_t*)"PRESS FIRE BUTTON TO REMATCH!", CENTER_MODE);
		tank1->score = 0;
		tank2->score = 0;
		HAL_Delay(500);
		while(!HAL_GPIO_ReadPin(tank1->gpioPort, tank1->pins[4]) && !HAL_GPIO_ReadPin(tank2->gpioPort, tank2->pins[4]));
	}

	int i;

	tank1->ID = 1;
	tank1->radius = TANK_RADIUS;
	tank1->xPos = 15;
	tank1->yPos = 15;
	tank1->color = LCD_COLOR_BLUE;

	tank1->fire = false;
	tank1->goForward = false;
	tank1->goBack = false;
	tank1->turnClockwise = false;
	tank1->turnCounterClockwise = false;

	tank1->gpioPort = GPIOD;
	tank1->pins[0] = GPIO_PIN_9;
	tank1->pins[1] = GPIO_PIN_10;
	tank1->pins[2] = GPIO_PIN_11;
	tank1->pins[3] = GPIO_PIN_12;
	tank1->pins[4] = GPIO_PIN_13;
	tank1->xPosBarrel = tank1->radius;
	tank1->yPosBarrel = 0;
	for(i=0; i<MAX_BULLET_COUNT; i++)
	{
		tank1->bullets[i].lifeTime = 0;
		tank1->bullets[i].xPos = 0;
		tank1->bullets[i].yPos = 0;
		tank1->bullets[i].xVelocity = 0;
		tank1->bullets[i].yVelocity = 0;
	}

	tank2->ID = 2;
	tank2->radius = TANK_RADIUS;
	tank2->xPos = 225;
	tank2->yPos = 225;
	tank2->color = LCD_COLOR_RED;

	tank2->fire = false;
	tank2->goForward = false;
	tank2->goBack = false;
	tank2->turnClockwise = false;
	tank2->turnCounterClockwise = false;

	tank2->gpioPort = GPIOC;
	tank2->pins[0] = GPIO_PIN_0;
	tank2->pins[1] = GPIO_PIN_1;
	tank2->pins[2] = GPIO_PIN_2;
	tank2->pins[3] = GPIO_PIN_3;
	tank2->pins[4] = GPIO_PIN_13;
	tank2->xPosBarrel = -tank1->radius;
	tank2->yPosBarrel = 0;
	for(i=0; i<MAX_BULLET_COUNT; i++)
	{
		tank2->bullets[i].lifeTime = 0;
		tank2->bullets[i].xPos = 0;
		tank2->bullets[i].yPos = 0;
		tank2->bullets[i].xVelocity = 0;
		tank2->bullets[i].yVelocity = 0;
	}
	BSP_LCD_Clear(LCD_COLOR_WHITE);
	GenerateMaze(map);
	PrintScoreBoard(tank1,tank2);
}

void PrintScoreBoard(Tank *tank1, Tank *tank2)
{
	BSP_LCD_SetTextColor(WALL_COLOR);
	BSP_LCD_DrawHLine(240, 120, 80);
	BSP_LCD_SetTextColor(tank1->color);
	BSP_LCD_FillCircle(280, 40, tank1->radius*2);

	BSP_LCD_SetTextColor(tank2->color);
	BSP_LCD_FillCircle(280, 160, tank2->radius*2);

	BSP_LCD_SetTextColor(LCD_COLOR_GREEN);
	BSP_LCD_DrawHLine(280, 40, tank1->radius*2);
	BSP_LCD_DrawHLine(280, 160, tank2->radius*2);

	BSP_LCD_SetTextColor(LCD_COLOR_BLACK);
	BSP_LCD_SetBackColor(LCD_COLOR_WHITE);
	BSP_LCD_SetFont(&Font24);
	BSP_LCD_DisplayChar(272, 80, tank1->score+48);
	BSP_LCD_DisplayChar(272, 200, tank2->score+48);
}

void HAL_UART_RxCpltCallback(UART_HandleTypeDef *huart)
{
		if(!playerOneNameSet)
		{
			if(uartInputData == '.' || strlen(playerName) > 10)
			{
				playerOneNameSet = true;
			}
			else
			{
				strncat(playerName,&uartInputData,1);
			}
		}
		else if(!playerTwoNameSet)
		{
			if(uartInputData == '.' || strlen(playerName) > 10)
			{
				playerTwoNameSet = true;
			}
			else
			{
				strncat(playerName,&uartInputData,1);
			}
		}

		if(!playerOneNameSet || !playerTwoNameSet)
		{
			HAL_UART_Receive_IT(&huart2,(uint8_t*)&uartInputData , 1);
		}

}

/* USER CODE END 4 */

void Error_Handler(void)
{
	__disable_irq();
	while (1) {
	}
}

/************************ (C) COPYRIGHT STMicroelectronics *****END OF FILE****/
